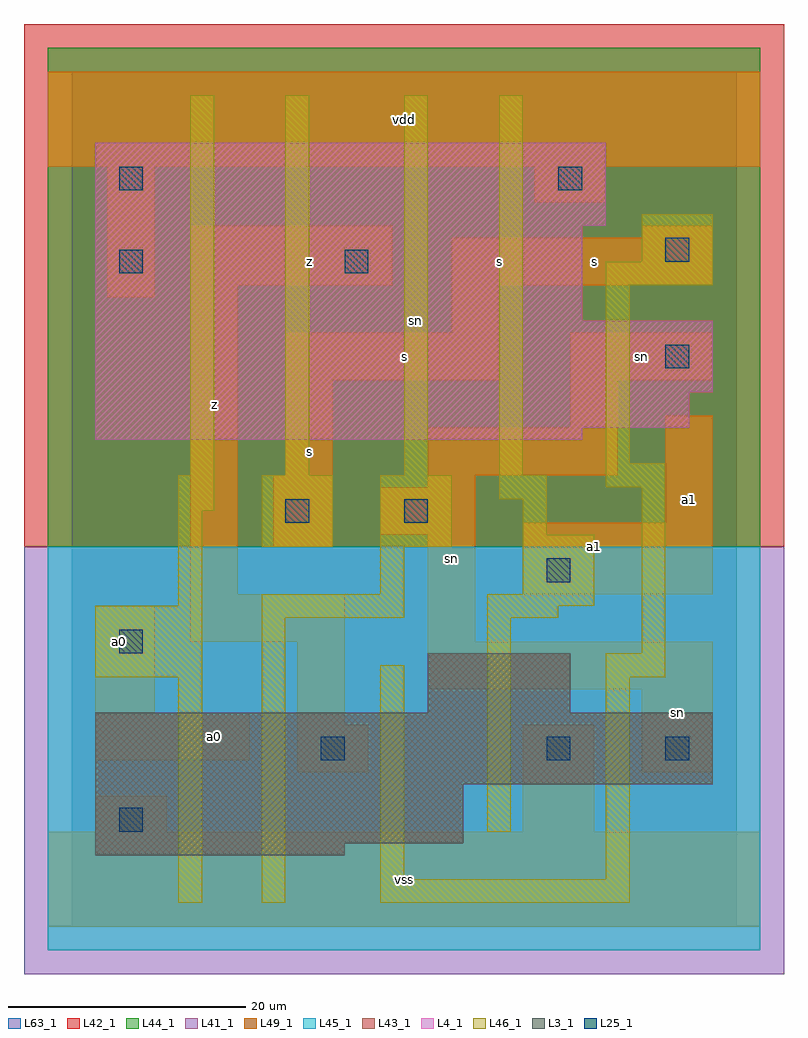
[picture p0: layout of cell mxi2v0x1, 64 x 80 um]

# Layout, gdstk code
import gdstk
lib = gdstk.Library(unit=1e-6, precision=1e-09)
def R(c, l, rs):  # rectangles x0, y0, x1, y1
    for r in rs: c.add(gdstk.rectangle(r[:2], r[2:], *l))
L3_1 = (3, 1)
L4_1 = (4, 1)
L25_1 = (25, 1)
L41_1 = (41, 1)
L42_1 = (42, 1)
L43_1 = (43, 1)
L44_1 = (44, 1)
L45_1 = (45, 1)
L46_1 = (46, 1)
L49_1 = (49, 1)
L63_1 = (63, 1)

mxi2v0x1 = lib.new_cell('mxi2v0x1')
R(mxi2v0x1, L3_1, [(2,6,23,7), (2,7,33,12), (2,12,54,18), (30,18,42,23)])
R(mxi2v0x1, L4_1, [(2,41,43,42), (2,42,52,45), (2,45,54,51), (2,51,43,59), (2,59,45,66)])
R(mxi2v0x1, L25_1, [(4,8,6,10), (21,14,23,16), (40,14,42,16), (50,14,52,16), (4,23,6,25), (40,29,42,31), (18,34,20,36), (28,34,30,36), (50,47,52,49), (4,55,6,57), (23,55,25,57), (50,56,52,58), (4,62,6,64), (41,62,43,64)])
R(mxi2v0x1, L41_1, [(-4,-4,60,32)])
R(mxi2v0x1, L42_1, [(-4,32,60,76)])
R(mxi2v0x1, L43_1, [(2,6,23,7), (2,7,33,12), (2,12,54,18), (30,18,42,23), (2,41,43,42), (2,42,52,45), (2,45,54,51), (2,51,43,59), (2,59,45,66)])
R(mxi2v0x1, L44_1, [(-2,32,58,74)])
R(mxi2v0x1, L45_1, [(-2,-2,58,32)])
R(mxi2v0x1, L46_1, [(9,2,11,21), (16,2,18,26), (26,2,47,4), (26,4,28,22), (45,4,47,21), (35,8,37,26), (2,21,11,27), (45,21,50,23), (48,23,50,37), (16,26,28,28), (35,26,41,27), (9,27,11,35), (35,27,44,28), (26,28,28,32), (38,28,44,33), (16,32,22,38), (26,32,32,38), (38,33,40,36), (9,35,12,38), (36,36,40,38), (45,37,50,39), (10,38,12,70), (18,38,20,70), (28,38,30,70), (36,38,38,70), (45,39,47,54), (45,54,54,56), (48,56,54,60)])
R(mxi2v0x1, L49_1, [(-2,0,58,8), (2,8,8,11), (38,8,44,17), (19,13,25,17), (48,13,54,20), (2,14,15,18), (19,17,23,24), (2,18,7,27), (30,20,54,24), (10,24,23,28), (30,24,34,33), (10,28,14,54), (38,28,54,34), (17,32,22,38), (26,33,34,37), (50,34,54,43), (30,37,34,38), (18,38,22,46), (30,38,46,42), (42,42,46,46), (18,46,36,50), (42,46,54,50), (32,50,36,54), (3,53,7,64), (10,54,27,59), (32,54,54,58), (48,58,54,59), (39,61,45,64), (-2,64,58,72)])
R(mxi2v0x1, L63_1, [(0,0,56,72)])
mxi2v0x1.add(gdstk.Label('sn', (29,51), layer=46, texttype=1))
mxi2v0x1.add(gdstk.Label('a0', (4,24), layer=49, texttype=1))
mxi2v0x1.add(gdstk.Label('a0', (12,16), layer=49, texttype=1))
mxi2v0x1.add(gdstk.Label('s', (20,40), layer=49, texttype=1))
mxi2v0x1.add(gdstk.Label('z', (12,44), layer=49, texttype=1))
mxi2v0x1.add(gdstk.Label('z', (20,56), layer=49, texttype=1))
mxi2v0x1.add(gdstk.Label('vss', (28,4), layer=49, texttype=1))
mxi2v0x1.add(gdstk.Label('sn', (32,31), layer=49, texttype=1))
mxi2v0x1.add(gdstk.Label('s', (28,48), layer=49, texttype=1))
mxi2v0x1.add(gdstk.Label('s', (36,56), layer=49, texttype=1))
mxi2v0x1.add(gdstk.Label('vdd', (28,68), layer=49, texttype=1))
mxi2v0x1.add(gdstk.Label('sn', (51,18), layer=49, texttype=1))
mxi2v0x1.add(gdstk.Label('a1', (44,32), layer=49, texttype=1))
mxi2v0x1.add(gdstk.Label('a1', (52,36), layer=49, texttype=1))
mxi2v0x1.add(gdstk.Label('sn', (48,48), layer=49, texttype=1))
mxi2v0x1.add(gdstk.Label('s', (44,56), layer=49, texttype=1))

lib.write_gds('mxi2v0x1.gds')
